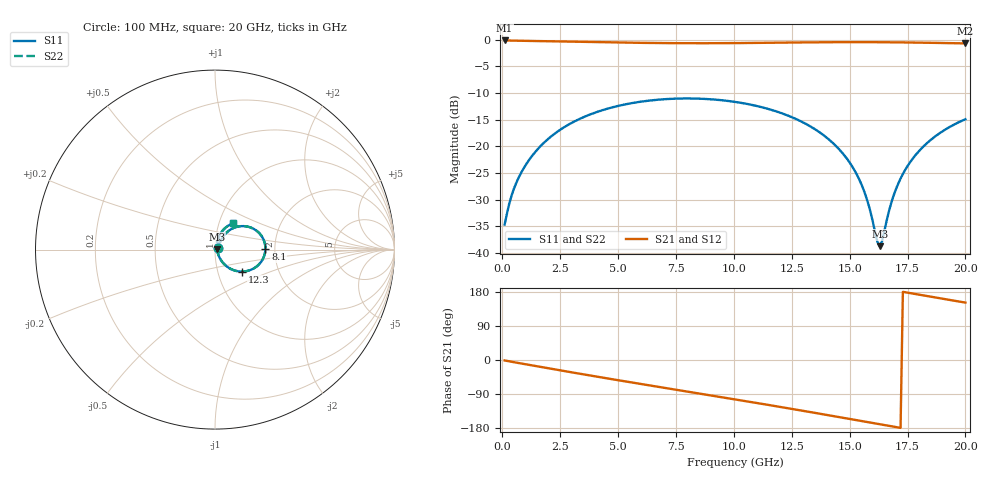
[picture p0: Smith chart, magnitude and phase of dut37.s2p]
! Touchstone file exported from HFSS 2026.1.0
!  File:  C:/ffzhzh/LocalFiles/Ansys_Project_Files/temp_train_TSV_RDL_37_1782965011_45568.aedt
!  Generated:  12:12:21 PM Jul  2, 2026
!  Design:  TSV_RDL
!  Project:  temp_train_TSV_RDL_37_1782965011_45568
! Variables:
!  h_bsmrdl = 2.68um
!  h_ox = 20um
!  h_rdl = 5um
!  h_sub = 60.25um
!  h_tmrdl = 5.91um
!  h_tsv = 60.25um
!  h_via = 3um
!  l_bsmrdl = 845.71um
!  l_sub = 3592.4um
!  l_tmrdl = 134.83um
!  m_sub = 200um
!  pitch = 35.81um
!  r_tsv = 8.56um
!  s_tmrdl = 10um
!  w_bsmrdl = 26.86um
!  w_sub = 500um
!  w_tmrdl = 11.79um
!  x_tsv_center1 = 140.725um
!  x_tsv_center2 = 1013.295um
!  x_tsv_center3 = 1159.915um
!  x_tsv_center4 = 2032.485um
!  x_tsv_center5 = 2179.105um
!  x_tsv_center6 = 3051.675um
# GHz S MA R 50.000000
! Terminal data exported
! Port[1] = TM_RDL1_1_T1
! Port[2] = TM_RDL5_1_T1
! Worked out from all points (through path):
!   200 points, 100 MHz to 20 GHz, reference 50 ohm
!   highest |S21| = -0.15 dB at 100 MHz (marker M1); lowest = -0.7 dB at 20 GHz (marker M2)
!   group delay of S21, straight-line fit = 28.7 ps
!   lowest |S11| = -38.7 dB at 16.3 GHz (marker M3), VSWR 1.02, Z = 51.2 + j0.161 ohm
!   |S11| at or under -10 dB: start of sweep to end of sweep
!   |S22| runs from -38.5 to -11.0 dB; largest |S21 - S12| = 7.9e-14
!   S11 on the Smith chart (normalised r, x): 100 MHz: 1.03, +0.02; 8.1 GHz: 1.78, +0.02; 12.3 GHz: 1.31, -0.33; 20 GHz: 1.17, +0.36
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0.1  0.01845 23.8  0.9832 -1.2  0.9832 -1.2  0.01845 23.8
! Gamma 0 0 0 0
! Port Impedance 50 0 50 0
0.5  0.03989 52.3  0.9782 -5.8  0.9782 -5.8  0.03989 52.3
1.2  0.07678 58.2  0.9727 -13.3  0.9727 -13.3  0.07678 58.2
2.2  0.1283 54.2  0.9655 -24.1  0.9655 -24.1  0.1283 54.2
3.5  0.1873 43.8  0.9541 -37.8  0.9541 -37.8  0.1873 43.8
5.1  0.2418 29.2  0.9401 -54.3  0.9401 -54.3  0.2418 29.2
6.8  0.2744 13.2  0.9296 -71.4  0.9296 -71.4  0.2744 13.3
8.1  0.281 1.0  0.9262 -84.4  0.9262 -84.4  0.2809 1.0
10.1  0.26 -17.9  0.9291 -104.4  0.9291 -104.4  0.2599 -17.9
12.3  0.1956 -38.8  0.9392 -126.9  0.9392 -126.9  0.1955 -38.7
13.4  0.1494 -48.9  0.9443 -138.4  0.9443 -138.4  0.1493 -48.8
14.4  0.1013 -57.1  0.9474 -149.1  0.9474 -149.1  0.1012 -56.9
15.2  0.06013 -60.9  0.9483 -157.6  0.9483 -157.6  0.0601 -60.5
15.7  0.03423 -57.4  0.948 -163.0  0.948 -163.0  0.03425 -56.8
16.2  0.01267 -16.4  0.9471 -168.4  0.9471 -168.4  0.01294 -15.4
16.3  0.01157 7.8  0.9468 -169.5  0.9468 -169.5  0.01192 8.2
16.4  0.01288 31.6  0.9465 -170.5  0.9465 -170.5  0.01323 31.3
16.7  0.02471 64.5  0.9454 -173.7  0.9454 -173.7  0.02496 63.9
17.2  0.04984 73.8  0.9432 -179.1  0.9432 -179.1  0.05002 73.5
17.9  0.08544 72.3  0.939 173.4  0.939 173.4  0.0856 72.0
18.8  0.1287 65.7  0.9324 163.9  0.9324 163.9  0.1288 65.5
20  0.1793 55.1  0.9225 151.5  0.9225 151.5  0.1794 55.0
